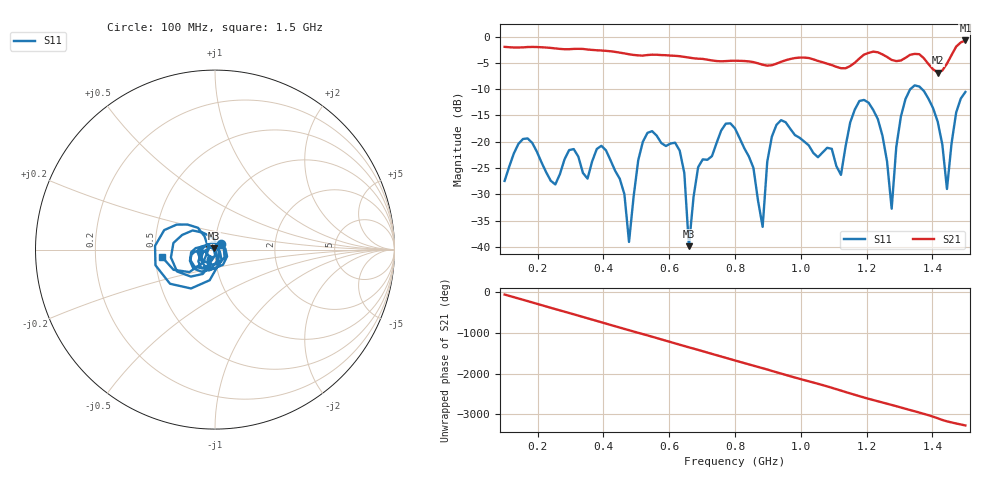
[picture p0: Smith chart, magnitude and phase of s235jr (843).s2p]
! NanoVNA-App
! Date: 2025-09-25 15:10:44
! Start: 100MHz Stop: 1,5GHz Points: 101
! S-Parameter data: F S11 S21 S12 S22
# Hz S RI R 50
!  Frequency  S11_Real  S11_Imag  S21_Real  S21_Imag  S12_Real  S12_Imag  S22_Real  S22_Imag
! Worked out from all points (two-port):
!   101 points, 100 MHz to 1.5 GHz, reference 50 ohm
!   highest |S21| = -0.75 dB at 1.5 GHz (marker M1); lowest = -6.8 dB at 1.416 GHz (marker M2)
!   |S21| within 3 dB of the highest: start of sweep to 632.7 MHz; 1.186 GHz to 1.258 GHz (71.8 MHz wide, 5.87 % of centre) (the widest 2 of 4)
!   lowest |S11| = -39.9 dB at 660 MHz (marker M3), VSWR 1.02, Z = 49.2 + j0.639 ohm
!   |S11| at or under -10 dB: start of sweep to 1.333 GHz; 1.368 GHz to end of sweep
!   S12 and S22 are empty: the file has one direction only
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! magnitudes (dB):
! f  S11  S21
! 100 MHz  -27.5  -2.0
! 170 MHz  -19.4  -2.0
! 338 MHz  -26.0  -2.4
! 408 MHz  -21.6  -2.7
! 478 MHz  -39.1  -3.4
! 520 MHz  -20.0  -3.6
! 576 MHz  -20.3  -3.5
! 632 MHz  -21.7  -3.7
! 660 MHz  -39.9  -4.0
! 688 MHz  -24.9  -4.2
! 800 MHz  -17.5  -4.6
! 884 MHz  -36.2  -5.4
! 926 MHz  -16.8  -5.2
! 1.038 GHz  -22.1  -4.3
! 1.122 GHz  -26.3  -6.0
! 1.206 GHz  -12.6  -3.1
! 1.276 GHz  -32.8  -4.4
! 1.304 GHz  -15.2  -4.6
! 1.332 GHz  -10.0  -3.5
! 1.416 GHz  -16.2  -6.8
! 1.444 GHz  -29.0  -5.2
! 1.5 GHz  -10.5  -0.7
